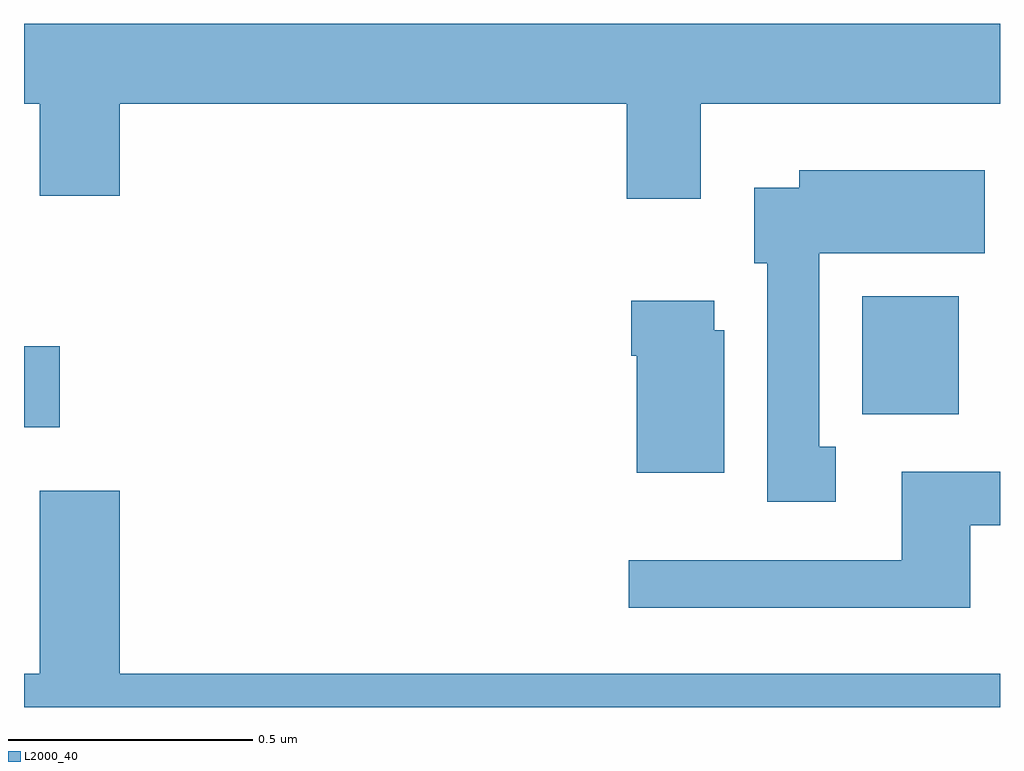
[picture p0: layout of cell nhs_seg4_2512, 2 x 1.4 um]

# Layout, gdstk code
import gdstk
lib = gdstk.Library(unit=1e-6, precision=1e-09)
def R(c, l, rs):  # rectangles x0, y0, x1, y1
    for r in rs: c.add(gdstk.rectangle(r[:2], r[2:], *l))
def P(c, l, *ps):  # polygons
    for p in ps: c.add(gdstk.Polygon(p, *l))
L2000_40 = (2000, 40)

nhs_seg4_2512 = lib.new_cell('nhs_seg4_2512')
R(nhs_seg4_2512, L2000_40, [(141,813.473,141.073,813.639), (142.718,813.5,142.915,813.742)])
P(nhs_seg4_2512, L2000_40, [(142.387,814.136),(143,814.136),(143,814.3),(141,814.3),(141,814.136),(141.032,814.136),(141.032,813.948),(141.196,813.948),(141.196,814.136),(142.235,814.136),(142.235,813.942),(142.387,813.942)],
  [(142.663,813.434),(142.63,813.434),(142.63,813.83),(142.969,813.83),(142.969,814),(142.589,814),(142.589,813.964),(142.496,813.964),(142.496,813.81),(142.523,813.81),(142.523,813.321),(142.663,813.321)],
  [(142.435,813.672),(142.414,813.672),(142.414,813.733),(142.244,813.733),(142.244,813.62),(142.256,813.62),(142.256,813.38),(142.435,813.38)],
  [(142.939,813.273),(143,813.273),(143,813.382),(142.799,813.382),(142.799,813.201),(142.239,813.201),(142.239,813.104),(142.939,813.104)],
  [(141.032,813.343),(141.032,812.968),(141,812.968),(141,812.9),(143,812.9),(143,812.968),(141.196,812.968),(141.196,813.343)])

lib.write_gds('nhs_seg4_2512.gds')
